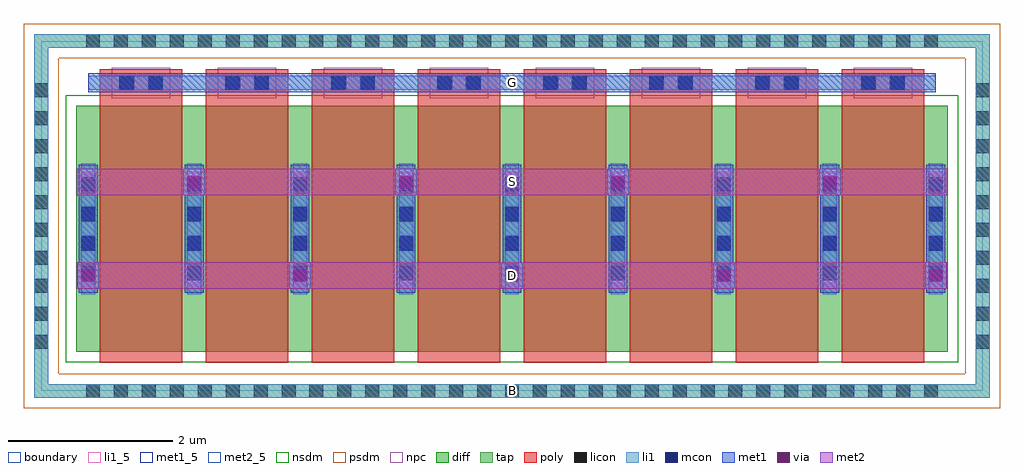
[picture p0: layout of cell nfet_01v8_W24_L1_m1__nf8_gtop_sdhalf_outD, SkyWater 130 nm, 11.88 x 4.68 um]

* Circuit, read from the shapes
.subckt nfet_01v8_W24_L1_m1__nf8_gtop_sdhalf_outD B D G S
XM1 S G D B sky130_fd_pr__nfet_01v8 w=3 l=1 m=8
.ends

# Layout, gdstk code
import gdstk
lib = gdstk.Library(unit=1e-6, precision=1e-09)
def R(c, l, rs):  # rectangles x0, y0, x1, y1
    for r in rs: c.add(gdstk.rectangle(r[:2], r[2:], *l))
def A(c, l, x, y, w, h, nx, ny, dx, dy):  # array of equal rectangles
    R(c, l, [(x+i*dx, y+j*dy, x+i*dx+w, y+j*dy+h) for i in range(nx) for j in range(ny)])
diff = (65, 20)
tap = (65, 44)
poly = (66, 20)
licon = (66, 44)
li1_5 = (67, 5)
li1 = (67, 20)
mcon = (67, 44)
met1_5 = (68, 5)
met1 = (68, 20)
via = (68, 44)
met2_5 = (69, 5)
met2 = (69, 20)
nsdm = (93, 44)
psdm = (94, 20)
npc = (95, 20)
boundary = (235, 4)

sky130_fd_pr__nfet_01v8_ = lib.new_cell('sky130_fd_pr__nfet_01v8_CYSTY9')
R(sky130_fd_pr__nfet_01v8_, diff, [(-5.305,-1.655,5.305,1.345)])
R(sky130_fd_pr__nfet_01v8_, tap, [(-5.815,-2.215,5.815,-2.045), (-5.815,-2.045,-5.645,2.045), (5.645,-2.045,5.815,2.045), (-5.815,2.045,5.815,2.215)])
A(sky130_fd_pr__nfet_01v8_, poly, -5.015, -1.785, 1, 3.57, 8, 1, 1.29, 0)
A(sky130_fd_pr__nfet_01v8_, licon, -5.185, -2.215, 0.17, 0.17, 31, 2, 0.34, 4.26)
A(sky130_fd_pr__nfet_01v8_, licon, -5.815, -1.615, 0.17, 0.17, 1, 10, 0, 0.34)
A(sky130_fd_pr__nfet_01v8_, licon, 5.645, -1.615, 0.17, 0.17, 1, 10, 0, 0.34)
A(sky130_fd_pr__nfet_01v8_, licon, -5.245, -0.75, 0.17, 0.17, 9, 4, 1.29, 0.34)
R(sky130_fd_pr__nfet_01v8_, licon, [(-4.77,1.535,-4.6,1.705), (-4.43,1.535,-4.26,1.705), (-3.48,1.535,-3.31,1.705), (-3.14,1.535,-2.97,1.705), (-2.19,1.535,-2.02,1.705), (-1.85,1.535,-1.68,1.705), (-0.9,1.535,-0.73,1.705), (-0.56,1.535,-0.39,1.705), (0.39,1.535,0.56,1.705), (0.73,1.535,0.9,1.705), (1.68,1.535,1.85,1.705), (2.02,1.535,2.19,1.705), (2.97,1.535,3.14,1.705), (3.31,1.535,3.48,1.705), (4.26,1.535,4.43,1.705), (4.6,1.535,4.77,1.705)])
A(sky130_fd_pr__nfet_01v8_, li1, -5.245, -0.955, 0.17, 1.6, 9, 1, 1.29, 0)
R(sky130_fd_pr__nfet_01v8_, li1, [(-5.815,-2.215,5.815,-2.045), (-5.815,-2.045,-5.645,2.045), (5.645,-2.045,5.815,2.045), (-5.16,1.535,5.16,1.705), (-5.815,2.045,5.815,2.215)])
A(sky130_fd_pr__nfet_01v8_, mcon, -5.245, -0.78, 0.17, 0.17, 9, 4, 1.29, 0.36)
R(sky130_fd_pr__nfet_01v8_, mcon, [(-4.78,1.535,-4.61,1.705), (-4.42,1.535,-4.25,1.705), (-3.49,1.535,-3.32,1.705), (-3.13,1.535,-2.96,1.705), (-2.2,1.535,-2.03,1.705), (-1.84,1.535,-1.67,1.705), (-0.91,1.535,-0.74,1.705), (-0.55,1.535,-0.38,1.705), (0.38,1.535,0.55,1.705), (0.74,1.535,0.91,1.705), (1.67,1.535,1.84,1.705), (2.03,1.535,2.2,1.705), (2.96,1.535,3.13,1.705), (3.32,1.535,3.49,1.705), (4.25,1.535,4.42,1.705), (4.61,1.535,4.78,1.705)])
A(sky130_fd_pr__nfet_01v8_, met1, -5.275, -0.935, 0.23, 1.56, 9, 1, 1.29, 0)
A(sky130_fd_pr__nfet_01v8_, met1, -4.995, 1.505, 0.96, 0.03, 8, 2, 1.29, 0.2)
R(sky130_fd_pr__nfet_01v8_, met1, [(-5.16,1.535,5.16,1.705)])
R(sky130_fd_pr__nfet_01v8_, nsdm, [(-5.43,-1.78,5.43,1.47)])
R(sky130_fd_pr__nfet_01v8_, psdm, [(-5.94,-2.34,5.94,-1.92), (-5.94,-1.92,-5.52,1.92), (5.52,-1.92,5.94,1.92), (-5.94,1.92,5.94,2.34)])
A(sky130_fd_pr__nfet_01v8_, npc, -4.87, 1.435, 0.71, 0.37, 8, 1, 1.29, 0)
R(sky130_fd_pr__nfet_01v8_, boundary, [(-5.73,-2.13,5.73,2.13)])
sky130_fd_pr__nfet_01v8_.add(gdstk.Label('B', (0,-2.13), layer=67, texttype=5))
sky130_fd_pr__nfet_01v8_.add(gdstk.Label('D0', (-5.16,-0.155), layer=67, texttype=5))
sky130_fd_pr__nfet_01v8_.add(gdstk.Label('G', (4.515,1.62), layer=67, texttype=5))
sky130_fd_pr__nfet_01v8_.add(gdstk.Label('G', (3.225,1.62), layer=67, texttype=5))
sky130_fd_pr__nfet_01v8_.add(gdstk.Label('G', (1.935,1.62), layer=67, texttype=5))
sky130_fd_pr__nfet_01v8_.add(gdstk.Label('G', (0.645,1.62), layer=67, texttype=5))
sky130_fd_pr__nfet_01v8_.add(gdstk.Label('G', (-0.645,1.62), layer=67, texttype=5))
sky130_fd_pr__nfet_01v8_.add(gdstk.Label('G', (-1.935,1.62), layer=67, texttype=5))
sky130_fd_pr__nfet_01v8_.add(gdstk.Label('G', (-3.225,1.62), layer=67, texttype=5))
sky130_fd_pr__nfet_01v8_.add(gdstk.Label('G', (-4.515,1.62), layer=67, texttype=5))
sky130_fd_pr__nfet_01v8_.add(gdstk.Label('S1', (-3.87,-0.155), layer=67, texttype=5))
sky130_fd_pr__nfet_01v8_.add(gdstk.Label('D2', (-2.58,-0.155), layer=67, texttype=5))
sky130_fd_pr__nfet_01v8_.add(gdstk.Label('S3', (-1.29,-0.155), layer=67, texttype=5))
sky130_fd_pr__nfet_01v8_.add(gdstk.Label('D4', (0,-0.155), layer=67, texttype=5))
sky130_fd_pr__nfet_01v8_.add(gdstk.Label('S5', (1.29,-0.155), layer=67, texttype=5))
sky130_fd_pr__nfet_01v8_.add(gdstk.Label('D6', (2.58,-0.155), layer=67, texttype=5))
sky130_fd_pr__nfet_01v8_.add(gdstk.Label('S7', (3.87,-0.155), layer=67, texttype=5))

nfet_01v8_w24_l1_m1__nf8 = lib.new_cell('nfet_01v8_W24_L1_m1__nf8_gtop_sdhalf_outD')
R(nfet_01v8_w24_l1_m1__nf8, li1_5, [(5.645,-0.085,5.815,0.085)])
R(nfet_01v8_w24_l1_m1__nf8, li1, [(5.645,-0.085,5.815,0.085)])
R(nfet_01v8_w24_l1_m1__nf8, met1_5, [(0.57,3.635,10.89,3.865)])
A(nfet_01v8_w24_l1_m1__nf8, met1, 0.44, 1.245, 0.26, 0.32, 5, 1, 2.58, 0)
A(nfet_01v8_w24_l1_m1__nf8, met1, 1.73, 2.385, 0.26, 0.32, 4, 1, 2.58, 0)
R(nfet_01v8_w24_l1_m1__nf8, met1, [(0.57,3.635,10.89,3.865)])
A(nfet_01v8_w24_l1_m1__nf8, via, 0.495, 1.33, 0.15, 0.15, 5, 1, 2.58, 0)
A(nfet_01v8_w24_l1_m1__nf8, via, 1.785, 2.47, 0.15, 0.15, 4, 1, 2.58, 0)
R(nfet_01v8_w24_l1_m1__nf8, met2_5, [(0.435,1.245,11.025,1.565), (0.435,2.385,11.025,2.705)])
R(nfet_01v8_w24_l1_m1__nf8, met2, [(0.435,1.245,11.025,1.565), (0.435,2.385,11.025,2.705)])
nfet_01v8_w24_l1_m1__nf8.add(gdstk.Reference(sky130_fd_pr__nfet_01v8_, (5.73,2.13)))
nfet_01v8_w24_l1_m1__nf8.add(gdstk.Label('S', (5.73,2.545), layer=69, texttype=5))
nfet_01v8_w24_l1_m1__nf8.add(gdstk.Label('D', (5.73,1.405), layer=69, texttype=5))
nfet_01v8_w24_l1_m1__nf8.add(gdstk.Label('G', (5.73,3.75), layer=68, texttype=5))
nfet_01v8_w24_l1_m1__nf8.add(gdstk.Label('B', (5.73,0), layer=67, texttype=5))

lib.write_gds('nfet_01v8_W24_L1_m1__nf8_gtop_sdhalf_outD.gds')
